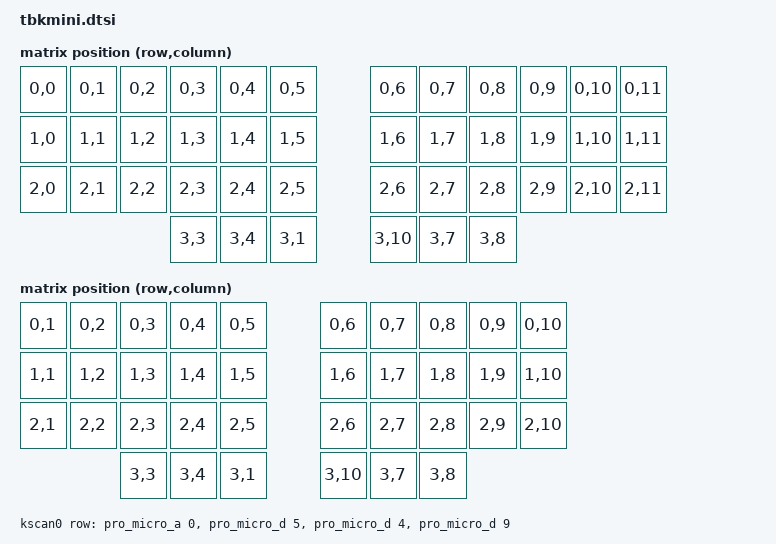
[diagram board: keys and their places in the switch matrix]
/*
 * Copyright (c) 2021 Casey Webster
 *
 * SPDX-License-Identifier: MIT
 */

#include <dt-bindings/zmk/matrix_transform.h>

/ {
	chosen {
		zmk,kscan = &kscan0;
		zmk,matrix_transform = &skeletyl_transform;
	};

	default_transform: keymap_transform_0 {
		compatible = "zmk,matrix-transform";
		columns = <12>;
		rows = <4>;
// | k00  | k01  | k02  | k03  | k04  | k05  |                  | k45  | k44  | k43  | k42  | k41  | k40  |
// | k10  | k11  | k12  | k13  | k14  | k15  |                  | k55  | k54  | k53  | k52  | k51  | k50  |
// | k20  | k21  | k22  | k23  | k24  | k25  |                  | k65  | k64  | k63  | k62  | k61  | k60  |
//                      | k33  | k34  | k32  |                  | k71  | k74  | k73  |
		map = <
RC(0,0) RC(0,1) RC(0,2) RC(0,3) RC(0,4) RC(0,5)                 RC(0,6) RC(0,7) RC(0,8) RC(0,9) RC(0,10) RC(0,11)
RC(1,0) RC(1,1) RC(1,2) RC(1,3) RC(1,4) RC(1,5)                 RC(1,6) RC(1,7) RC(1,8) RC(1,9) RC(1,10) RC(1,11)
RC(2,0) RC(2,1) RC(2,2) RC(2,3) RC(2,4) RC(2,5)                 RC(2,6) RC(2,7) RC(2,8) RC(2,9) RC(2,10) RC(2,11)
                        RC(3,3) RC(3,4) RC(3,1)                 RC(3,10) RC(3,7) RC(3,8)
		>;
	};

// | k01  | k02  | k03  | k04  | k05  |                  | k45  | k44  | k43  | k42  | k41  |
// | k11  | k12  | k13  | k14  | k15  |                  | k55  | k54  | k53  | k52  | k51  |
// | k21  | k22  | k23  | k24  | k25  |                  | k65  | k64  | k63  | k62  | k61  |
//               | k33  | k34  | k31  |                  | k71  | k74  | k73  |
	skeletyl_transform: keymap_transform_1 {
		compatible = "zmk,matrix-transform";
		columns = <10>;
		rows = <4>;
		map = <
RC(0,1) RC(0,2) RC(0,3) RC(0,4) RC(0,5)                 RC(0,6) RC(0,7) RC(0,8) RC(0,9) RC(0,10)
RC(1,1) RC(1,2) RC(1,3) RC(1,4) RC(1,5)                 RC(1,6) RC(1,7) RC(1,8) RC(1,9) RC(1,10)
RC(2,1) RC(2,2) RC(2,3) RC(2,4) RC(2,5)                 RC(2,6) RC(2,7) RC(2,8) RC(2,9) RC(2,10)
                RC(3,3) RC(3,4) RC(3,1)                 RC(3,10) RC(3,7) RC(3,8)
		>;
	};

	kscan0: kscan {
		compatible = "zmk,kscan-gpio-matrix";
		label = "KSCAN";

		diode-direction = "row2col";
		row-gpios
			= <&pro_micro_a 0 (GPIO_ACTIVE_HIGH)>
			, <&pro_micro_d 5 (GPIO_ACTIVE_HIGH)>
			, <&pro_micro_d 4 (GPIO_ACTIVE_HIGH)>
			, <&pro_micro_d 9 (GPIO_ACTIVE_HIGH)>
			;

	};

	// TODO: RGB node(s)
};
